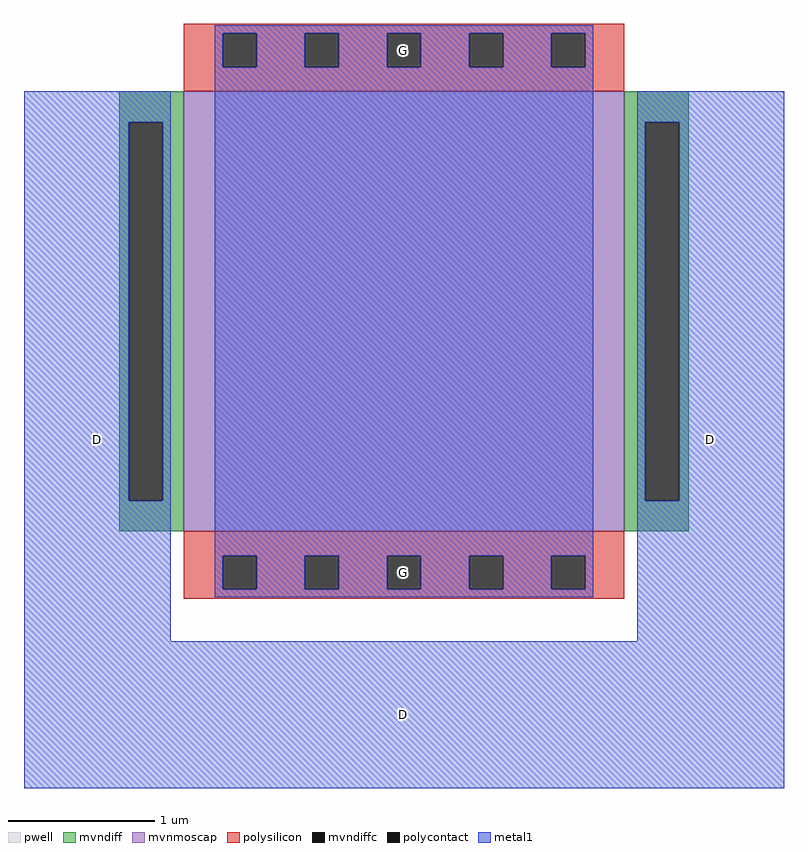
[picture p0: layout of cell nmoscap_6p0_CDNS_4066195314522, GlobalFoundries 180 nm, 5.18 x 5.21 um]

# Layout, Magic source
magic
tech gf180mcuD
magscale 1 10
<< pwell >>
rect -88 0 688 600
<< mvndiff >>
rect -88 558 0 600
rect -88 42 -75 558
rect -29 42 0 558
rect -88 0 0 42
rect 600 558 688 600
rect 600 42 629 558
rect 675 42 688 558
rect 600 0 688 42
<< mvndiffc >>
rect -75 42 -29 558
rect 629 42 675 558
<< mvnmoscap >>
rect 0 0 600 600
<< polysilicon >>
rect 0 679 600 692
rect 0 633 53 679
rect 99 633 165 679
rect 211 633 277 679
rect 323 633 389 679
rect 435 633 501 679
rect 547 633 600 679
rect 0 600 600 633
rect 0 -33 600 0
rect 0 -79 53 -33
rect 99 -79 165 -33
rect 211 -79 277 -33
rect 323 -79 389 -33
rect 435 -79 501 -33
rect 547 -79 600 -33
rect 0 -92 600 -79
<< polycontact >>
rect 53 633 99 679
rect 165 633 211 679
rect 277 633 323 679
rect 389 633 435 679
rect 501 633 547 679
rect 53 -79 99 -33
rect 165 -79 211 -33
rect 277 -79 323 -33
rect 389 -79 435 -33
rect 501 -79 547 -33
<< metal1 >>
rect 42 679 558 690
rect 42 633 53 679
rect 99 633 165 679
rect 211 633 277 679
rect 323 633 389 679
rect 435 633 501 679
rect 547 633 558 679
rect -218 558 -18 600
rect -218 42 -75 558
rect -29 42 -18 558
rect -218 -150 -18 42
rect 42 -33 558 633
rect 42 -79 53 -33
rect 99 -79 165 -33
rect 211 -79 277 -33
rect 323 -79 389 -33
rect 435 -79 501 -33
rect 547 -79 558 -33
rect 42 -90 558 -79
rect 618 558 818 600
rect 618 42 629 558
rect 675 42 818 558
rect 618 -150 818 42
rect -218 -350 818 -150
<< labels >>
rlabel metal1 300 -250 300 -250 4 D
rlabel metal1 718 125 718 125 4 D
rlabel metal1 -118 125 -118 125 4 D
rlabel polycontact 300 656 300 656 4 G
rlabel polycontact 300 -56 300 -56 4 G
<< end >>
